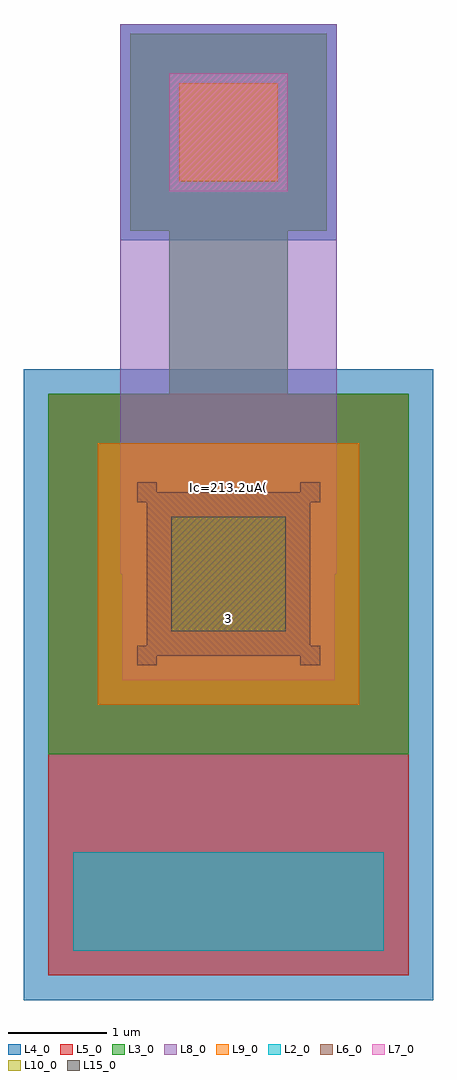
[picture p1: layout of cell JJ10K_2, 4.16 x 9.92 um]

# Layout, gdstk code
import gdstk
lib = gdstk.Library(unit=1e-6, precision=1e-09)
def R(c, l, rs):  # rectangles x0, y0, x1, y1
    for r in rs: c.add(gdstk.rectangle(r[:2], r[2:], *l))
L2_0 = (2, 0)
L3_0 = (3, 0)
L4_0 = (4, 0)
L5_0 = (5, 0)
L6_0 = (6, 0)
L7_0 = (7, 0)
L8_0 = (8, 0)
L9_0 = (9, 0)
L10_0 = (10, 0)
L15_0 = (15, 0)

jj10k_2 = lib.new_cell('JJ10K_2')
R(jj10k_2, L2_0, [(-1.58,-3.83,1.58,-2.83)])
R(jj10k_2, L3_0, [(-1.83,-1.83,1.83,1.83), (-1,3.49,1,5.49)])
R(jj10k_2, L4_0, [(-2.08,-4.33,2.08,-2.08), (-2.08,-2.08,2.08,2.08), (-1.1,3.39,1.1,5.59)])
R(jj10k_2, L5_0, [(-1.83,-4.08,1.83,-2.58), (-1.83,-2.58,1.83,-1.83), (-1.83,-1.83,1.83,1.83)])
R(jj10k_2, L6_0, [(-0.93,-0.93,-0.73,-0.73), (0.73,-0.93,0.93,-0.73), (-0.83,-0.83,0.83,0.83), (-0.93,0.73,-0.73,0.93), (0.73,0.73,0.93,0.93)])
R(jj10k_2, L7_0, [(-0.6,3.89,0.6,5.09)])
R(jj10k_2, L8_0, [(-1.08,-1.08,1.08,1.08), (-1.1,3.39,1.1,5.59)])
R(jj10k_2, L9_0, [(-1.33,-1.33,1.33,1.33), (-0.5,3.99,0.5,4.99)])
R(jj10k_2, L10_0, [(-0.58,-0.58,0.58,0.58)])
R(jj10k_2, L15_0, [(-0.58,-0.58,0.58,0.58)])
jj10k_2.add(gdstk.FlexPath([(0,0),(0,3.39)], 2.2, ends="flush", simple_path=True, layer=8, datatype=0))  # L8_0
jj10k_2.add(gdstk.FlexPath([(0,1.33),(0,3.99)], 1.2, ends="flush", simple_path=True, layer=3, datatype=0))  # L3_0
jj10k_2.add(gdstk.Label('3', (0,-0.45), layer=15, texttype=0))
jj10k_2.add(gdstk.Label('Ic=213.2uA(', (0,0.88), layer=15, texttype=0))

lib.write_gds('JJ10K_2.gds')
